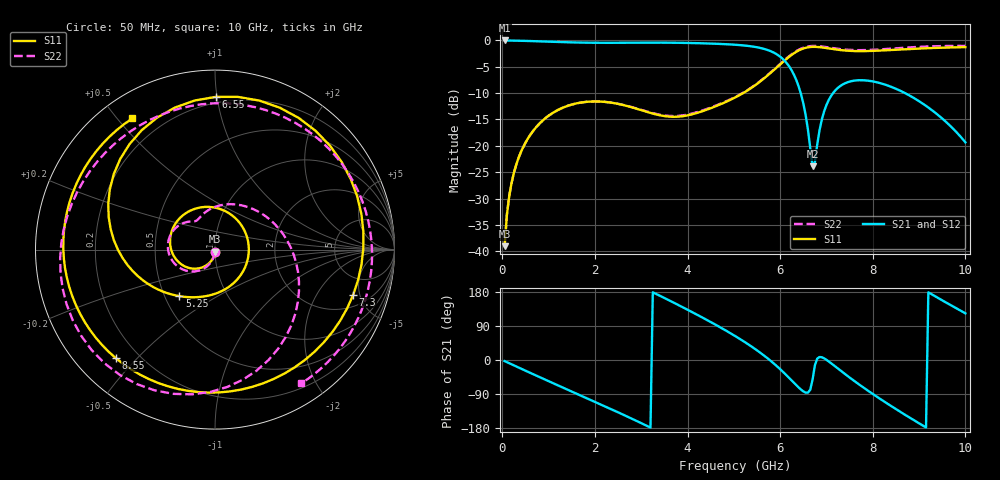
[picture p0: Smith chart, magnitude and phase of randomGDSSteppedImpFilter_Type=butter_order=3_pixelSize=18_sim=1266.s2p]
! freq	dB(S11)	phase(S11)	dB(S12)	phase(S12)
!  dB(S21)	phase(S21)	dB(S22)	phase(S22)
!S-par simulation data
#  GHz  S  DB  R 50
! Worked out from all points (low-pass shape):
!   200 points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, 50 MHz to 10 GHz, reference 50 ohm
!   highest |S21| = -0.01 dB at 50 MHz (marker M1); lowest = -23.9 dB at 6.7 GHz (marker M2)
!   |S21| within 3 dB of the highest: start of sweep to 5.988 GHz
!   lowest |S11| = -39.0 dB at 50 MHz (marker M3), VSWR 1.02, Z = 49.9 - j1.12 ohm
!   |S11| at or under -10 dB: start of sweep to 5.199 GHz
!   |S22| runs from -39.0 to -1.0 dB; largest |S21 - S12| = 0
!   S11 on the Smith chart (normalised r, x): 50 MHz: 1.00, -0.02; 5.25 GHz: 0.59, -0.35; 6.55 GHz: 0.16, +0.99; 7.3 GHz: 2.97, -4.33; 8.55 GHz: 0.12, -0.44; 10 GHz: 0.10, +0.55
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0.05  -39.03 -92.7  -0.01 -2.9  -0.01 -2.9  -39.02 -92.3
0.2  -27.04 -102.2  -0.03 -11.4  -0.03 -11.4  -27.05 -100.4
0.5  -19.42 -120.9  -0.09 -28.2  -0.09 -28.2  -19.41 -116.5
1.15  -13.44 -160.3  -0.28 -64.1  -0.28 -64.1  -13.44 -149.2
1.75  -11.72 162.6  -0.42 -96.7  -0.42 -96.7  -11.72 -177.4
2.7  -12.45 95.9  -0.44 -149.3  -0.44 -149.3  -12.42 144.6
3.4  -14.20 31.7  -0.42 169.7  -0.42 169.7  -14.09 127.0
4.3  -13.49 -58.7  -0.54 113.5  -0.54 113.5  -13.35 104.5
5.05  -10.72 -114.1  -0.83 61.6  -0.83 61.6  -10.64 55.5
5.25  -9.73 -127.3  -0.98 46.2  -0.98 46.2  -9.66 37.5
5.65  -7.22 -156.7  -1.60 11.9  -1.60 11.9  -7.15 -3.6
6  -4.54 168.9  -3.08 -24.2  -3.08 -24.2  -4.45 -44.8
6.3  -2.42 129.0  -6.55 -60.5  -6.55 -60.5  -2.29 -84.8
6.55  -1.40 89.6  -14.13 -86.0  -14.13 -86.0  -1.24 -120.2
6.7  -1.22 65.4  -23.91 -51.8  -23.91 -51.8  -1.05 -140.7
7  -1.45 20.4  -12.24 0.5  -12.24 0.5  -1.27 -177.0
7.3  -1.83 -18.1  -8.63 -27.7  -8.63 -27.7  -1.65 152.6
7.8  -2.03 -70.2  -7.56 -72.8  -7.56 -72.8  -1.84 108.1
8.35  -1.83 -116.9  -8.64 -117.9  -8.64 -117.9  -1.59 61.9
8.55  -1.73 -132.3  -9.37 -133.4  -9.37 -133.4  -1.47 45.6
9.25  -1.45 176.3  -13.05 174.9  -13.05 174.9  -1.13 -7.8
10  -1.27 122.2  -19.33 123.1  -19.33 123.1  -1.04 -57.2
